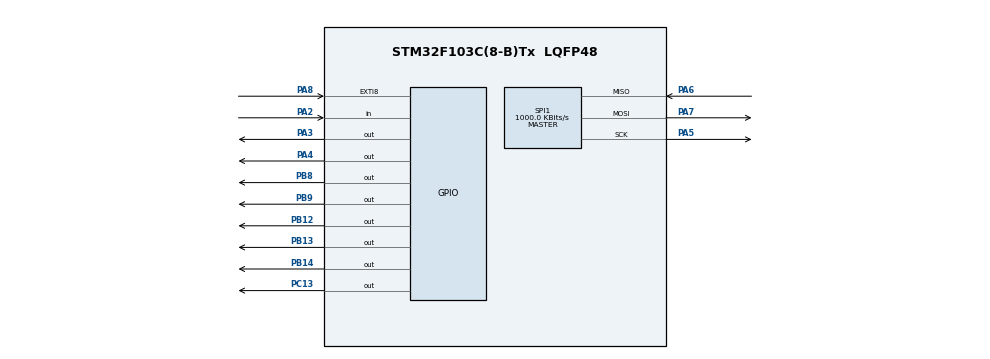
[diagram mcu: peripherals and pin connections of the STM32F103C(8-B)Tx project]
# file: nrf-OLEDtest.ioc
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Dma.Request0=SPI1_RX
Dma.Request1=SPI1_TX
Dma.SPI1_RX.0.Direction=DMA_PERIPH_TO_MEMORY
Dma.SPI1_RX.0.Instance=DMA1_Channel2
Dma.SPI1_RX.0.MemDataAlignment=DMA_MDATAALIGN_BYTE
Dma.SPI1_RX.0.MemInc=DMA_MINC_ENABLE
Dma.SPI1_RX.0.Mode=DMA_CIRCULAR
Dma.SPI1_RX.0.PeriphDataAlignment=DMA_PDATAALIGN_BYTE
Dma.SPI1_RX.0.PeriphInc=DMA_PINC_DISABLE
Dma.SPI1_RX.0.Priority=DMA_PRIORITY_LOW
Dma.SPI1_TX.1.Direction=DMA_MEMORY_TO_PERIPH
Dma.SPI1_TX.1.Instance=DMA1_Channel3
Dma.SPI1_TX.1.MemDataAlignment=DMA_MDATAALIGN_BYTE
Dma.SPI1_TX.1.MemInc=DMA_MINC_ENABLE
Dma.SPI1_TX.1.Mode=DMA_NORMAL
Dma.SPI1_TX.1.PeriphDataAlignment=DMA_PDATAALIGN_BYTE
Dma.SPI1_TX.1.PeriphInc=DMA_PINC_DISABLE
Dma.SPI1_TX.1.Priority=DMA_PRIORITY_LOW
Mcu.Family=STM32F1
Mcu.Name=STM32F103C(8-B)Tx
Mcu.Package=LQFP48
NVIC.DMA1_Channel2_IRQn=true\:0\:0\:false\:false\:true\:false\:true\:true
NVIC.DMA1_Channel3_IRQn=true\:0\:0\:false\:false\:true\:false\:true\:true
NVIC.EXTI9_5_IRQn=true\:0\:0\:false\:false\:true\:true\:true\:true
NVIC.PriorityGroup=NVIC_PRIORITYGROUP_4
PA13.Mode=Serial_Wire
PA13.Signal=SYS_JTMS-SWDIO
PA14.Mode=Serial_Wire
PA14.Signal=SYS_JTCK-SWCLK
PA2.Signal=GPIO_Input
PA3.Signal=GPIO_Output
PA4.Signal=GPIO_Output
PA5.Mode=Full_Duplex_Master
PA5.Signal=SPI1_SCK
PA6.GPIO_PuPd=GPIO_PULLUP
PA6.Mode=Full_Duplex_Master
PA6.Signal=SPI1_MISO
PA7.Mode=Full_Duplex_Master
PA7.Signal=SPI1_MOSI
PA8.GPIO_ModeDefaultEXTI=GPIO_MODE_IT_FALLING
PA8.GPIO_PuPd=GPIO_PULLUP
PA8.Signal=GPXTI8
PB12.GPIO_ModeDefaultOutputPP=GPIO_MODE_OUTPUT_OD
PB12.GPIO_PuPd=GPIO_NOPULL
PB12.GPIO_Speed=GPIO_SPEED_FREQ_HIGH
PB12.Signal=GPIO_Output
PB13.GPIO_PuPd=GPIO_PULLUP
PB13.GPIO_Speed=GPIO_SPEED_FREQ_HIGH
PB13.Signal=GPIO_Output
PB14.GPIO_PuPd=GPIO_NOPULL
PB14.Signal=GPIO_Output
PB8.Signal=GPIO_Output
PB9.Signal=GPIO_Output
PC13-TAMPER-RTC.Signal=GPIO_Output
PD0-OSC_IN.Mode=HSE-External-Oscillator
PD0-OSC_IN.Signal=RCC_OSC_IN
PD1-OSC_OUT.Mode=HSE-External-Oscillator
PD1-OSC_OUT.Signal=RCC_OSC_OUT
ProjectManager.HeapSize=0x200
ProjectManager.StackSize=0x400
ProjectManager.TargetToolchain=CMake
RCC.APB1Freq_Value=8000000
RCC.APB2Freq_Value=8000000
SPI1.BaudRatePrescaler=SPI_BAUDRATEPRESCALER_8
SPI1.CalculateBaudRate=1000.0 KBits/s
SPI1.Direction=SPI_DIRECTION_2LINES
SPI1.Mode=SPI_MODE_MASTER
SPI1.VirtualType=VM_MASTER
board=custom

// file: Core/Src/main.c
/* USER CODE BEGIN Header */
/**
  ******************************************************************************
  * @file           : main.c
  * @brief          : Main program body
  ******************************************************************************
  * @attention
  *
  * Copyright (c) 2026 STMicroelectronics.
  * All rights reserved.
  *
  * This software is licensed under terms that can be found in the LICENSE file
  * in the root directory of this software component.
  * If no LICENSE file comes with this software, it is provided AS-IS.
  *
  ******************************************************************************
  */
/* USER CODE END Header */
#include "main.h"

/* USER CODE BEGIN Includes */
#include "OLED.h"
#include "24l01.h"
#include "stm32f103xb.h"
#include "stm32f1xx_hal.h"
#include "stm32f1xx_hal_gpio.h"
#include <stdio.h>
/* USER CODE END Includes */

SPI_HandleTypeDef hspi1;
DMA_HandleTypeDef hdma_spi1_rx;
DMA_HandleTypeDef hdma_spi1_tx;

/* USER CODE BEGIN PV */
char nrf_oled1[20]="";
volatile int beep_time = 0;        // 剩余蜂鸣次数，由中断设置
volatile int beep_state = 0;       // 0=静音中, 1=响中
volatile uint32_t beep_tick = 0;   // 上次状态切换时间戳
/* USER CODE END PV */

void SystemClock_Config(void);
static void MX_GPIO_Init(void);
static void MX_DMA_Init(void);
static void MX_SPI1_Init(void);

/* USER CODE BEGIN 0 */
/**
  * @brief SPI 发送和接收完成回调函数
  * @param hspi: SPI 句柄指针
  */
void HAL_SPI_TxRxCpltCallback(SPI_HandleTypeDef *hspi)
{
	// 传输完成后停止 SPI 的 DMA 传输模式
	HAL_SPI_DMAStop(hspi);
}

void HAL_GPIO_EXTI_Callback(uint16_t GPIO_Pin)
{
  if (GPIO_Pin == GPIO_PIN_8) {
    NRF24L01_TX_Mode();
      OLED_Clear();
      NRF24L01_TxPacket[0]=1;
      NRF24L01_TxPacket_Send(NRF24L01_TxPacket);
      OLED_ShowString(30, 20, "SEND_fire", OLED_8X16);
      OLED_ShowHexNum(1,1,  NRF24L01_TxPacket[0], 2, OLED_8X16);
      OLED_Update();
      NRF24L01_TxPacket[0]=0;
      // 启动蜂鸣器序列：立即开始第1次响
      beep_time = 3;
      beep_state = 1;
      HAL_GPIO_WritePin(GPIOB, GPIO_PIN_14, GPIO_PIN_SET); // 高电平触发
      beep_tick = HAL_GetTick();
  }
}
/* USER CODE END 0 */

int main(void)
{

  /* MCU Configuration--------------------------------------------------------*/

  /* Reset of all peripherals, Initializes the Flash interface and the Systick. */
  HAL_Init();

  /* Configure the system clock */
  SystemClock_Config();

  /* Initialize all configured peripherals */
  MX_GPIO_Init();
  MX_DMA_Init();
  MX_SPI1_Init();
  /* USER CODE BEGIN 2 */
  HAL_GPIO_WritePin(GPIOB, GPIO_PIN_14, GPIO_PIN_SET);
  HAL_Delay(20);//短暂延时后初始化OLED
  OLED_Init();
  OLED_Clear();
  char str_ssd[20] = "ready123";           // 准备激活状态显示字符串
  OLED_ShowString(5,20,str_ssd,OLED_8X16);//在屏幕显示停止状态
  char str_ssd12[20] = "mood0";          // 准备模式0显示字符串
  OLED_ShowString(5,50,str_ssd12,OLED_8X16);//在屏幕显示停止状态
  OLED_Update();
  NRF24L01_Init();
  HAL_Delay(20);
  int mode = 1; // 0为发送，1为接收
  int time_NRF_WAIT = 0;
  /* USER CODE END 2 */

  /* Infinite loop */
  /* USER CODE BEGIN WHILE */
  while (1)
  {
        while(NRF24L01_Check())
    {
      OLED_Clear();
      time_NRF_WAIT++;
      char str_ssd[20] = "NO NRF24L01";           // 准备激活状态显示字符串
      OLED_ShowString(5,20,str_ssd,OLED_8X16);//在屏幕显示停止状态
      OLED_ShowNum(5, 40, time_NRF_WAIT, 6, OLED_8X16);
      OLED_Update();
      HAL_Delay(1000);
    }
    OLED_Clear();
    char str_ssd[20] = "NRF24L01 READY";           // 准备激活状态显示字符串
    OLED_ShowString(5,20,str_ssd,OLED_8X16);//在屏幕显示停止状态
    OLED_Update();
    HAL_GPIO_TogglePin(GPIOC, GPIO_PIN_13);
    // 蜂鸣器非阻塞状态机：响3次，每次0.5s，间隔0.5s
    if (beep_time > 0)
    {
      uint32_t now = HAL_GetTick();
      if (beep_state == 1 && (now - beep_tick) >= 500)
      {
        // 响了0.5s，关闭蜂鸣器
        HAL_GPIO_WritePin(GPIOB, GPIO_PIN_14, GPIO_PIN_SET);
        beep_state = 0;
        beep_tick = now;
        beep_time--;
      }
      else if (beep_state == 0 && beep_time > 0 && (now - beep_tick) >= 500)
      {
        // 静音0.5s结束，开启下一次
        HAL_GPIO_WritePin(GPIOB, GPIO_PIN_14, GPIO_PIN_RESET);
        beep_state = 1;
        beep_tick = now;
      }
    }

    /*
    //发送状态
    if(mode == 0)
    {
      NRF24L01_TX_Mode();
      OLED_Clear();
      NRF24L01_TxPacket[0]++;
      NRF24L01_TxPacket[1] += 2;
      NRF24L01_TxPacket[2] += 3;
      NRF24L01_TxPacket[3] += 4;
      NRF24L01_TxPacket_Send(NRF24L01_TxPacket);
      OLED_ShowString(30, 20, "SEND", OLED_8X16);
      OLED_ShowHexNum(1,1,  NRF24L01_TxPacket[0], 2, OLED_8X16);
      OLED_ShowHexNum(1,14, NRF24L01_TxPacket[1], 2, OLED_8X16);
      OLED_ShowHexNum(1,28, NRF24L01_TxPacket[2], 2, OLED_8X16);
      OLED_ShowHexNum(1,42, NRF24L01_TxPacket[3], 2, OLED_8X16);
      OLED_Update();
    }
      */
    //接收状态
    if (mode == 1) {
      NRF24L01_RX_Mode();
      OLED_Clear();
      if (NRF24L01_RxPacket_Recv(NRF24L01_RxPacket) == 0)
        {
            OLED_Clear();
            OLED_ShowString(30, 20, "RECEIVE", OLED_8X16);
            OLED_ShowHexNum(1,1,  NRF24L01_RxPacket[0], 2, OLED_8X16);
            OLED_ShowHexNum(1,14, NRF24L01_RxPacket[1], 2, OLED_8X16);
            OLED_ShowHexNum(1,28, NRF24L01_RxPacket[2], 2, OLED_8X16);
            OLED_ShowHexNum(1,42, NRF24L01_RxPacket[3], 2, OLED_8X16);
            OLED_Update();
        }
    }
    HAL_Delay(50);
    /* USER CODE END WHILE */

  }
}

void SystemClock_Config(void)
{
  RCC_OscInitTypeDef RCC_OscInitStruct = {0};
  RCC_ClkInitTypeDef RCC_ClkInitStruct = {0};

  /** Initializes the RCC Oscillators according to the specified parameters
  * in the RCC_OscInitTypeDef structure.
  */
  RCC_OscInitStruct.OscillatorType = RCC_OSCILLATORTYPE_HSI;
  RCC_OscInitStruct.HSIState = RCC_HSI_ON;
  RCC_OscInitStruct.HSICalibrationValue = RCC_HSICALIBRATION_DEFAULT;
  RCC_OscInitStruct.PLL.PLLState = RCC_PLL_NONE;
  if (HAL_RCC_OscConfig(&RCC_OscInitStruct) != HAL_OK)
  {
    Error_Handler();
  }

  /** Initializes the CPU, AHB and APB buses clocks
  */
  RCC_ClkInitStruct.ClockType = RCC_CLOCKTYPE_HCLK|RCC_CLOCKTYPE_SYSCLK
                              |RCC_CLOCKTYPE_PCLK1|RCC_CLOCKTYPE_PCLK2;
  RCC_ClkInitStruct.SYSCLKSource = RCC_SYSCLKSOURCE_HSI;
  RCC_ClkInitStruct.AHBCLKDivider = RCC_SYSCLK_DIV1;
  RCC_ClkInitStruct.APB1CLKDivider = RCC_HCLK_DIV1;
  RCC_ClkInitStruct.APB2CLKDivider = RCC_HCLK_DIV1;

  if (HAL_RCC_ClockConfig(&RCC_ClkInitStruct, FLASH_LATENCY_0) != HAL_OK)
  {
    Error_Handler();
  }
}

static void MX_SPI1_Init(void)
{

  /* SPI1 parameter configuration*/
  hspi1.Instance = SPI1;
  hspi1.Init.Mode = SPI_MODE_MASTER;
  hspi1.Init.Direction = SPI_DIRECTION_2LINES;
  hspi1.Init.DataSize = SPI_DATASIZE_8BIT;
  hspi1.Init.CLKPolarity = SPI_POLARITY_LOW;
  hspi1.Init.CLKPhase = SPI_PHASE_1EDGE;
  hspi1.Init.NSS = SPI_NSS_SOFT;
  hspi1.Init.BaudRatePrescaler = SPI_BAUDRATEPRESCALER_8;
  hspi1.Init.FirstBit = SPI_FIRSTBIT_MSB;
  hspi1.Init.TIMode = SPI_TIMODE_DISABLE;
  hspi1.Init.CRCCalculation = SPI_CRCCALCULATION_DISABLE;
  hspi1.Init.CRCPolynomial = 10;
  if (HAL_SPI_Init(&hspi1) != HAL_OK)
  {
    Error_Handler();
  }

}

static void MX_DMA_Init(void)
{

  /* DMA controller clock enable */
  __HAL_RCC_DMA1_CLK_ENABLE();

  /* DMA interrupt init */
  /* DMA1_Channel2_IRQn interrupt configuration */
  HAL_NVIC_SetPriority(DMA1_Channel2_IRQn, 0, 0);
  HAL_NVIC_EnableIRQ(DMA1_Channel2_IRQn);
  /* DMA1_Channel3_IRQn interrupt configuration */
  HAL_NVIC_SetPriority(DMA1_Channel3_IRQn, 0, 0);
  HAL_NVIC_EnableIRQ(DMA1_Channel3_IRQn);

}

static void MX_GPIO_Init(void)
{
  GPIO_InitTypeDef GPIO_InitStruct = {0};

  /* GPIO Ports Clock Enable */
  __HAL_RCC_GPIOC_CLK_ENABLE();
  __HAL_RCC_GPIOD_CLK_ENABLE();
  __HAL_RCC_GPIOA_CLK_ENABLE();
  __HAL_RCC_GPIOB_CLK_ENABLE();

  /*Configure GPIO pin Output Level */
  HAL_GPIO_WritePin(GPIOC, GPIO_PIN_13, GPIO_PIN_RESET);

  /*Configure GPIO pin Output Level */
  HAL_GPIO_WritePin(GPIOA, GPIO_PIN_3|GPIO_PIN_4, GPIO_PIN_RESET);

  /*Configure GPIO pin Output Level */
  HAL_GPIO_WritePin(GPIOB, GPIO_PIN_12|GPIO_PIN_13|GPIO_PIN_14|GPIO_PIN_8
                          |GPIO_PIN_9, GPIO_PIN_RESET);

  /*Configure GPIO pin : PC13 */
  GPIO_InitStruct.Pin = GPIO_PIN_13;
  GPIO_InitStruct.Mode = GPIO_MODE_OUTPUT_PP;
  GPIO_InitStruct.Pull = GPIO_NOPULL;
  GPIO_InitStruct.Speed = GPIO_SPEED_FREQ_LOW;
  HAL_GPIO_Init(GPIOC, &GPIO_InitStruct);

  /*Configure GPIO pin : PA2 */
  GPIO_InitStruct.Pin = GPIO_PIN_2;
  GPIO_InitStruct.Mode = GPIO_MODE_INPUT;
  GPIO_InitStruct.Pull = GPIO_NOPULL;
  HAL_GPIO_Init(GPIOA, &GPIO_InitStruct);

  /*Configure GPIO pins : PA3 PA4 */
  GPIO_InitStruct.Pin = GPIO_PIN_3|GPIO_PIN_4;
  GPIO_InitStruct.Mode = GPIO_MODE_OUTPUT_PP;
  GPIO_InitStruct.Pull = GPIO_NOPULL;
  GPIO_InitStruct.Speed = GPIO_SPEED_FREQ_LOW;
  HAL_GPIO_Init(GPIOA, &GPIO_InitStruct);

  /*Configure GPIO pin : PB12 */
  GPIO_InitStruct.Pin = GPIO_PIN_12;
  GPIO_InitStruct.Mode = GPIO_MODE_OUTPUT_OD;
  GPIO_InitStruct.Pull = GPIO_NOPULL;
  GPIO_InitStruct.Speed = GPIO_SPEED_FREQ_HIGH;
  HAL_GPIO_Init(GPIOB, &GPIO_InitStruct);

  /*Configure GPIO pin : PB13 */
  GPIO_InitStruct.Pin = GPIO_PIN_13;
  GPIO_InitStruct.Mode = GPIO_MODE_OUTPUT_PP;
  GPIO_InitStruct.Pull = GPIO_PULLUP;
  GPIO_InitStruct.Speed = GPIO_SPEED_FREQ_HIGH;
  HAL_GPIO_Init(GPIOB, &GPIO_InitStruct);

  /*Configure GPIO pins : PB14 PB8 PB9 */
  GPIO_InitStruct.Pin = GPIO_PIN_14|GPIO_PIN_8|GPIO_PIN_9;
  GPIO_InitStruct.Mode = GPIO_MODE_OUTPUT_PP;
  GPIO_InitStruct.Pull = GPIO_NOPULL;
  GPIO_InitStruct.Speed = GPIO_SPEED_FREQ_LOW;
  HAL_GPIO_Init(GPIOB, &GPIO_InitStruct);

  /*Configure GPIO pin : PA8 */
  GPIO_InitStruct.Pin = GPIO_PIN_8;
  GPIO_InitStruct.Mode = GPIO_MODE_IT_FALLING;
  GPIO_InitStruct.Pull = GPIO_PULLUP;
  HAL_GPIO_Init(GPIOA, &GPIO_InitStruct);

  /* EXTI interrupt init*/
  HAL_NVIC_SetPriority(EXTI9_5_IRQn, 0, 0);
  HAL_NVIC_EnableIRQ(EXTI9_5_IRQn);

}

void Error_Handler(void)
{
  __disable_irq();
  while (1)
  {
  }
}
